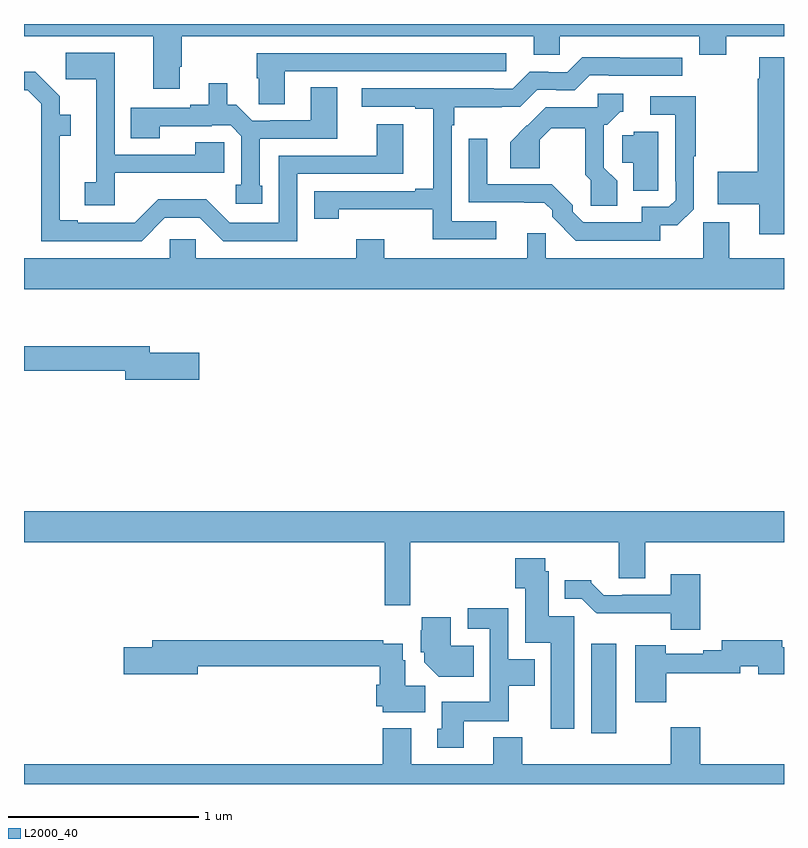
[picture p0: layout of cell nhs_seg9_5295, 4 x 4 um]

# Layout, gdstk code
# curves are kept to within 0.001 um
import gdstk
lib = gdstk.Library(unit=1e-6, precision=1e-09)
def R(c, l, rs):  # rectangles x0, y0, x1, y1
    for r in rs: c.add(gdstk.rectangle(r[:2], r[2:], *l))
def P(c, l, *ps):  # polygons
    for p in ps: c.add(gdstk.Polygon(p, *l))
L2000_40 = (2000, 40)

nhs_seg9_5295 = lib.new_cell('nhs_seg9_5295')
R(nhs_seg9_5295, L2000_40, [(421.985,1176.768,422.116,1177.237)])
P(nhs_seg9_5295, L2000_40, [(419.821,1180.276),(419.829,1180.276),(419.829,1180.436),(421.682,1180.436),(421.682,1180.338),(421.821,1180.338),(421.821,1180.436),(422.555,1180.436),(422.555,1180.337),(422.695,1180.337),(422.695,1180.436),(423,1180.436),(423,1180.5),(419,1180.5),(419,1180.436),(419.681,1180.436),(419.681,1180.158),(419.821,1180.158)],
  [(419.478,1179.716),(419.945,1179.716),(419.945,1179.717),(420.055,1179.717),(420.055,1179.878),(419.902,1179.878),(419.902,1179.813),(419.478,1179.813),(419.478,1180.348),(419.22,1180.348),(419.22,1180.209),(419.381,1180.209),(419.381,1179.666),(419.319,1179.666),(419.319,1179.546),(419.478,1179.546)],
  [(420.373,1180.251),(421.537,1180.251),(421.537,1180.347),(420.226,1180.347),(420.226,1180.215),(420.235,1180.215),(420.235,1180.078),(420.373,1180.078)],
  [(423,1180.324),(422.87,1180.324),(422.87,1180.211),(422.863,1180.211),(422.863,1179.722),(422.652,1179.722),(422.652,1179.551),(422.87,1179.551),(422.87,1179.393),(423,1179.393)],
  [(421.486,1179.462),(421.251,1179.462),(421.251,1179.968),(421.264,1179.968),(421.264,1180.062),(421.514,1180.062),(421.514,1180.065),(421.611,1180.065),(421.701,1180.155),(421.802,1180.155),(421.802,1180.152),(421.899,1180.152),(421.977,1180.23),(422.077,1180.23),(422.077,1180.227),(422.464,1180.227),(422.464,1180.323),(421.939,1180.324),(421.86,1180.245),(421.76,1180.245),(421.76,1180.248),(421.662,1180.248),(421.572,1180.158),(421.472,1180.158),(421.472,1180.161),(420.777,1180.161),(420.777,1180.065),(421.058,1180.065),(421.058,1180.053),(421.154,1180.053),(421.154,1179.634),(421.058,1179.634),(421.058,1179.621),(420.528,1179.621),(420.528,1179.474),(420.656,1179.474),(420.656,1179.524),(421.15,1179.524),(421.15,1179.366),(421.486,1179.366)],
  [(419.742,1179.48),(419.925,1179.48),(420.048,1179.357),(420.438,1179.357),(420.438,1179.711),(420.997,1179.711),(420.997,1179.973),(420.857,1179.973),(420.857,1179.807),(420.342,1179.807),(420.342,1179.453),(420.084,1179.453),(419.96,1179.577),(419.706,1179.577),(419.582,1179.453),(419.284,1179.453),(419.284,1179.466),(419.188,1179.466),(419.188,1179.912),(419.245,1179.912),(419.245,1180.022),(419.189,1180.022),(419.189,1180.12),(419.059,1180.25),(419,1180.25),(419,1180.152),(419.019,1180.152),(419.091,1180.08),(419.091,1179.357),(419.619,1179.357)],
  [(420.253,1179.648),(420.24,1179.648),(420.24,1179.897),(420.649,1179.897),(420.649,1180.166),(420.509,1180.166),(420.509,1179.993),(420.295,1179.993),(420.295,1179.99),(420.201,1179.99),(420.117,1180.074),(420.07,1180.074),(420.07,1180.189),(419.972,1180.189),(419.972,1180.074),(419.876,1180.074),(419.876,1180.059),(419.563,1180.059),(419.563,1179.898),(419.715,1179.898),(419.715,1179.963),(419.987,1179.963),(419.987,1179.966),(420.087,1179.966),(420.144,1179.909),(420.144,1179.654),(420.114,1179.654),(420.114,1179.555),(420.253,1179.555)],
  [(422.122,1179.674),(422.052,1179.744),(422.052,1179.969),(422.07,1179.969),(422.139,1180.038),(422.155,1180.038),(422.155,1180.134),(422.019,1180.134),(422.019,1180.062),(421.745,1180.062),(421.648,1179.965),(421.647,1179.966),(421.56,1179.878),(421.56,1179.742),(421.714,1179.742),(421.714,1179.89),(421.775,1179.951),(421.954,1179.951),(421.954,1179.706),(421.983,1179.677),(421.983,1179.543),(422.122,1179.543)],
  [(422.349,1179.441),(422.438,1179.441),(422.524,1179.526),(422.524,1179.805),(422.536,1179.805),(422.536,1180.119),(422.295,1180.119),(422.295,1180.023),(422.427,1180.023),(422.427,1179.673),(422.43,1179.673),(422.43,1179.573),(422.394,1179.537),(422.25,1179.537),(422.25,1179.456),(421.944,1179.456),(421.887,1179.513),(421.887,1179.547),(421.777,1179.657),(421.437,1179.657),(421.437,1179.895),(421.341,1179.895),(421.341,1179.561),(421.738,1179.56),(421.779,1179.52),(421.779,1179.485),(421.904,1179.36),(422.349,1179.36)],
  [(422.337,1179.934),(422.208,1179.934),(422.208,1179.915),(422.148,1179.915),(422.148,1179.77),(422.207,1179.77),(422.207,1179.622),(422.337,1179.622)],
  [(423,1179.268),(422.713,1179.268),(422.713,1179.456),(422.575,1179.456),(422.575,1179.268),(421.745,1179.268),(421.745,1179.398),(421.649,1179.398),(421.649,1179.268),(420.895,1179.268),(420.895,1179.367),(420.748,1179.367),(420.748,1179.268),(419.904,1179.268),(419.904,1179.366),(419.766,1179.366),(419.766,1179.268),(419,1179.268),(419,1179.104),(423,1179.104)],
  [(419.923,1178.769),(419.662,1178.769),(419.662,1178.803),(419,1178.803),(419,1178.674),(419.534,1178.674),(419.534,1178.627),(419.923,1178.627)],
  [(421.034,1177.772),(422.129,1177.772),(422.129,1177.582),(422.269,1177.582),(422.269,1177.772),(423,1177.772),(423,1177.936),(419,1177.936),(419,1177.772),(420.898,1177.772),(420.898,1177.44),(421.034,1177.44)],
  [(421.897,1177.383),(421.762,1177.383),(421.762,1177.62),(421.743,1177.62),(421.743,1177.687),(421.586,1177.687),(421.586,1177.531),(421.637,1177.531),(421.637,1177.244),(421.772,1177.244),(421.772,1176.792),(421.897,1176.792)],
  [(422.558,1177.603),(422.405,1177.603),(422.405,1177.497),(422.149,1177.497),(422.149,1177.494),(422.05,1177.494),(421.986,1177.558),(421.986,1177.573),(421.847,1177.573),(421.847,1177.476),(421.935,1177.476),(422.014,1177.398),(422.403,1177.398),(422.403,1177.313),(422.558,1177.313)],
  [(421.315,1176.83),(421.551,1176.83),(421.551,1177.016),(421.687,1177.016),(421.687,1177.156),(421.548,1177.156),(421.548,1177.426),(421.335,1177.426),(421.335,1177.317),(421.452,1177.317),(421.452,1176.934),(421.199,1176.934),(421.199,1176.792),(421.175,1176.792),(421.175,1176.69),(421.315,1176.69)],
  [(421.367,1177.228),(421.246,1177.228),(421.246,1177.378),(421.094,1177.378),(421.094,1177.308),(421.088,1177.308),(421.088,1177.194),(421.106,1177.194),(421.106,1177.142),(421.184,1177.064),(421.367,1177.064)],
  [(421.111,1177.016),(421.006,1177.016),(421.006,1177.152),(420.994,1177.152),(420.994,1177.238),(420.89,1177.238),(420.89,1177.256),(419.675,1177.256),(419.675,1177.22),(419.526,1177.22),(419.526,1177.078),(419.914,1177.078),(419.914,1177.12),(420.872,1177.12),(420.872,1177.023),(420.854,1177.023),(420.854,1176.909),(420.888,1176.909),(420.888,1176.878),(421.111,1176.878)],
  [(422.38,1177.084),(422.769,1177.084),(422.769,1177.12),(422.864,1177.12),(422.864,1177.078),(423,1177.078),(423,1177.22),(422.992,1177.22),(422.992,1177.256),(422.673,1177.256),(422.673,1177.205),(422.576,1177.205),(422.576,1177.185),(422.378,1177.185),(422.378,1177.231),(422.216,1177.231),(422.216,1176.93),(422.38,1176.93)],
  [(423,1176.604),(422.558,1176.604),(422.558,1176.799),(422.405,1176.799),(422.405,1176.604),(421.622,1176.604),(421.622,1176.745),(421.469,1176.745),(421.469,1176.604),(421.039,1176.604),(421.039,1176.793),(420.887,1176.793),(420.887,1176.604),(419,1176.604),(419,1176.5),(423,1176.5)])

lib.write_gds('nhs_seg9_5295.gds')
